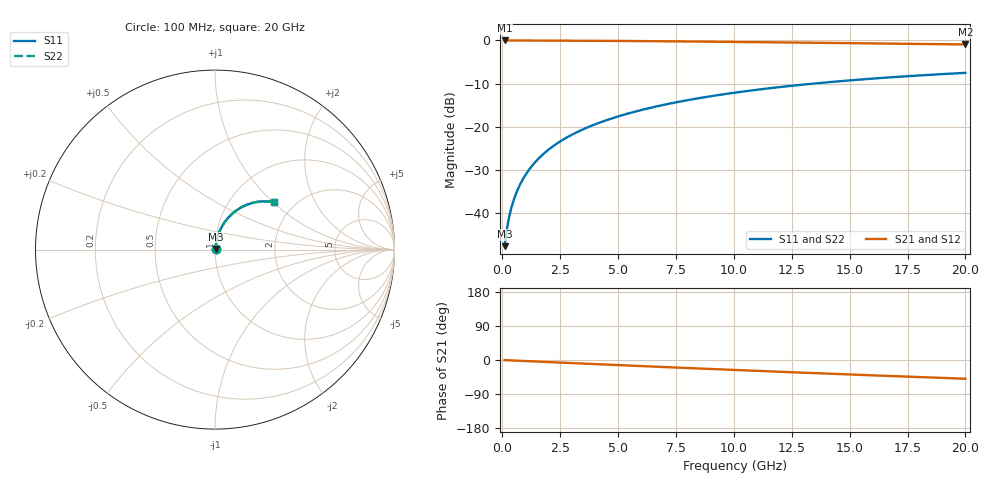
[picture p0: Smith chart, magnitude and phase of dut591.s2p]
! Touchstone file exported from HFSS 2026.1.0
!  File:  C:/ffzhzh/LocalFiles/Ansys_Project_Files/temp_train_BSMRDL_591_1783015870_51716.aedt
!  Generated:  02:12:50 AM Jul  3, 2026
!  Design:  BSMRDL
!  Project:  temp_train_BSMRDL_591_1783015870_51716
! Variables:
!  h_bsmrdl = 4.53um
!  h_ox = 20um
!  h_rdl = 5um
!  h_sub = 80um
!  h_tmrdl = 5um
!  h_tsv = 80um
!  h_via = 3um
!  l_bsmrdl = 755.78um
!  l_sub = 1155.78um
!  l_tmrdl = 200um
!  m_sub = 200um
!  pitch = 48.59um
!  r_tsv = 6um
!  s_tmrdl = 10um
!  w_bsmrdl = 21.93um
!  w_sub = 500um
!  w_tmrdl = 12um
!  x_tsv_center1 = 206um
!  x_tsv_center2 = 983.71um
!  x_tsv_center3 = 1195.71um
!  x_tsv_center4 = 1973.42um
!  x_tsv_center5 = 2185.42um
!  x_tsv_center6 = 2963.13um
# GHz S MA R 50.000000
! Terminal data exported
! Port[1] = BSM_RDL1_1_T1
! Port[2] = BSM_RDL1_1_T2
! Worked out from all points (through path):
!   200 points, 100 MHz to 20 GHz, reference 50 ohm
!   highest |S21| = -0.02 dB at 100 MHz (marker M1); lowest = -1.0 dB at 20 GHz (marker M2)
!   group delay of S21, straight-line fit = 6.87 ps
!   lowest |S11| = -47.7 dB at 100 MHz (marker M3), VSWR 1.01, Z = 50.3 + j0.297 ohm
!   |S11| at or under -10 dB: start of sweep to 13.48 GHz
!   |S22| runs from -47.7 to -7.5 dB; largest |S21 - S12| = 8.6e-15
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0.1  0.004123 45.7  0.9971 -0.3  0.9971 -0.3  0.004123 45.7
! Gamma 0 0 0 0
! Port Impedance 50 0 50 0
0.2  0.006549 61.7  0.9969 -0.6  0.9969 -0.6  0.006549 61.7
0.3  0.009112 68.6  0.9968 -0.8  0.9968 -0.8  0.009112 68.6
0.4  0.0117 72.4  0.9966 -1.1  0.9966 -1.1  0.0117 72.4
0.5  0.01431 74.9  0.9965 -1.4  0.9965 -1.4  0.01431 74.9
0.6  0.01694 76.5  0.9964 -1.7  0.9964 -1.7  0.01694 76.5
0.8  0.02224 78.6  0.9962 -2.2  0.9962 -2.2  0.02224 78.6
1.1  0.03024 79.9  0.9958 -3.0  0.9958 -3.0  0.03024 79.9
1.5  0.04093 80.4  0.9952 -4.1  0.9952 -4.1  0.04093 80.4
1.8  0.04893 80.3  0.9947 -4.9  0.9947 -4.9  0.04893 80.3
2.1  0.0569 79.9  0.9941 -5.7  0.9941 -5.7  0.0569 79.9
2.7  0.07271 78.9  0.9926 -7.4  0.9926 -7.4  0.07271 78.9
3.5  0.09348 77.2  0.9902 -9.5  0.9902 -9.5  0.09348 77.2
4.2  0.1113 75.5  0.9878 -11.4  0.9878 -11.4  0.1113 75.5
5  0.1314 73.6  0.9847 -13.5  0.9847 -13.5  0.1314 73.6
5.9  0.1534 71.4  0.9808 -15.8  0.9808 -15.8  0.1534 71.4
6.8  0.1749 69.2  0.9766 -18.1  0.9766 -18.1  0.1749 69.3
8.3  0.2095 65.6  0.969 -22.0  0.969 -22.0  0.2095 65.6
10.1  0.2489 61.3  0.9589 -26.5  0.9589 -26.5  0.2489 61.3
13.4  0.3148 53.6  0.9384 -34.5  0.9384 -34.5  0.3148 53.6
16.7  0.3719 46.2  0.9169 -42.1  0.9169 -42.1  0.3719 46.2
20  0.42 39.0  0.8958 -49.4  0.8958 -49.4  0.42 39.0
